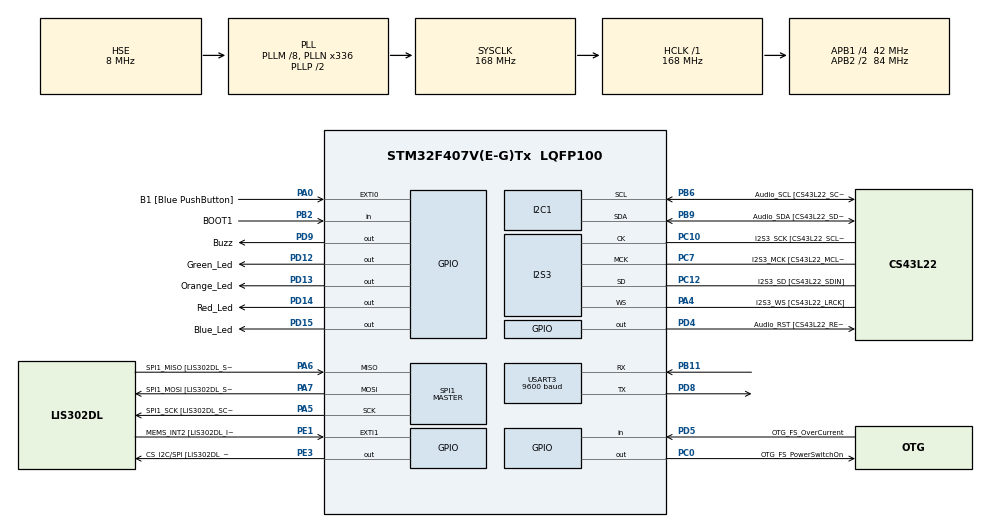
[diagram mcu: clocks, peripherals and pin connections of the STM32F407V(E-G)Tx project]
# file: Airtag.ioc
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Dma.Request0=USART3_RX
Dma.Request1=USART3_TX
Dma.USART3_RX.0.Direction=DMA_PERIPH_TO_MEMORY
Dma.USART3_RX.0.FIFOMode=DMA_FIFOMODE_DISABLE
Dma.USART3_RX.0.Instance=DMA1_Stream1
Dma.USART3_RX.0.MemDataAlignment=DMA_MDATAALIGN_BYTE
Dma.USART3_RX.0.MemInc=DMA_MINC_ENABLE
Dma.USART3_RX.0.Mode=DMA_NORMAL
Dma.USART3_RX.0.PeriphDataAlignment=DMA_PDATAALIGN_BYTE
Dma.USART3_RX.0.PeriphInc=DMA_PINC_DISABLE
Dma.USART3_RX.0.Priority=DMA_PRIORITY_LOW
Dma.USART3_TX.1.Direction=DMA_MEMORY_TO_PERIPH
Dma.USART3_TX.1.FIFOMode=DMA_FIFOMODE_DISABLE
Dma.USART3_TX.1.Instance=DMA1_Stream3
Dma.USART3_TX.1.MemDataAlignment=DMA_MDATAALIGN_BYTE
Dma.USART3_TX.1.MemInc=DMA_MINC_ENABLE
Dma.USART3_TX.1.Mode=DMA_NORMAL
Dma.USART3_TX.1.PeriphDataAlignment=DMA_PDATAALIGN_BYTE
Dma.USART3_TX.1.PeriphInc=DMA_PINC_DISABLE
Dma.USART3_TX.1.Priority=DMA_PRIORITY_LOW
I2S3.AudioFreq-Half_Duplex_Master=I2S_AUDIOFREQ_96K
I2S3.ErrorAudioFreq=-2.34 %
I2S3.ErrorAudioFreq-Half_Duplex_Master=0.8 %
I2S3.FullDuplexMode=I2S_FULLDUPLEXMODE_DISABLE
I2S3.Instance=SPI$Index
I2S3.RealAudioFreq=93.75 KHz
I2S3.RealAudioFreq-Half_Duplex_Master=96.774 KHz
I2S3.VirtualMode=I2S_MODE_MASTER
Mcu.Family=STM32F4
Mcu.Name=STM32F407V(E-G)Tx
Mcu.Package=LQFP100
NVIC.DMA1_Stream1_IRQn=true\:0\:0\:false\:false\:true\:false\:true\:true
NVIC.DMA1_Stream3_IRQn=true\:0\:0\:false\:false\:true\:false\:true\:true
NVIC.PriorityGroup=NVIC_PRIORITYGROUP_4
NVIC.TIM7_IRQn=true\:0\:0\:false\:false\:true\:false\:true\:true
NVIC.TimeBase=TIM7_IRQn
NVIC.TimeBaseIP=TIM7
NVIC.USART3_IRQn=true\:0\:0\:false\:false\:true\:true\:true\:true
PA0-WKUP.GPIO_Label=B1 [Blue PushButton]
PA0-WKUP.GPIO_ModeDefaultEXTI=GPIO_MODE_EVT_RISING
PA0-WKUP.GPIO_PuPd=GPIO_NOPULL
PA0-WKUP.Signal=GPXTI0
PA10.GPIO_Label=OTG_FS_ID
PA10.GPIO_Mode=GPIO_MODE_AF_PP
PA10.GPIO_PuPd=GPIO_NOPULL
PA10.GPIO_Speed=GPIO_SPEED_FREQ_LOW
PA10.Signal=USB_OTG_FS_ID
PA11.GPIO_Label=OTG_FS_DM
PA11.GPIO_Mode=GPIO_MODE_AF_PP
PA11.GPIO_PuPd=GPIO_NOPULL
PA11.GPIO_Speed=GPIO_SPEED_FREQ_LOW
PA11.Signal=USB_OTG_FS_DM
PA12.GPIO_Label=OTG_FS_DP
PA12.GPIO_Mode=GPIO_MODE_AF_PP
PA12.GPIO_PuPd=GPIO_NOPULL
PA12.GPIO_Speed=GPIO_SPEED_FREQ_LOW
PA12.Signal=USB_OTG_FS_DP
PA13.GPIO_Label=SWDIO
PA13.Mode=Serial_Wire
PA13.Signal=SYS_JTMS-SWDIO
PA14.GPIO_Label=SWCLK
PA14.Mode=Serial_Wire
PA14.Signal=SYS_JTCK-SWCLK
PA4.GPIO_Label=I2S3_WS [CS43L22_LRCK]
PA4.GPIO_Mode=GPIO_MODE_AF_PP
PA4.GPIO_PuPd=GPIO_NOPULL
PA4.GPIO_Speed=GPIO_SPEED_FREQ_LOW
PA4.Mode=Half_Duplex_Master
PA4.Signal=I2S3_WS
PA5.GPIO_Label=SPI1_SCK [LIS302DL_SCL/SPC]
PA5.GPIO_Mode=GPIO_MODE_AF_PP
PA5.GPIO_PuPd=GPIO_NOPULL
PA5.GPIO_Speed=GPIO_SPEED_FREQ_LOW
PA5.Mode=Full_Duplex_Master
PA5.Signal=SPI1_SCK
PA6.GPIO_Label=SPI1_MISO [LIS302DL_SDO]
PA6.GPIO_Mode=GPIO_MODE_AF_PP
PA6.GPIO_PuPd=GPIO_NOPULL
PA6.GPIO_Speed=GPIO_SPEED_FREQ_LOW
PA6.Mode=Full_Duplex_Master
PA6.Signal=SPI1_MISO
PA7.GPIO_Label=SPI1_MOSI [LIS302DL_SDA/SDI/SDO]
PA7.GPIO_Mode=GPIO_MODE_AF_PP
PA7.GPIO_PuPd=GPIO_NOPULL
PA7.GPIO_Speed=GPIO_SPEED_FREQ_LOW
PA7.Mode=Full_Duplex_Master
PA7.Signal=SPI1_MOSI
PA9.GPIO_Label=VBUS_FS
PA9.GPIO_Mode=GPIO_MODE_INPUT
PA9.GPIO_PuPd=GPIO_NOPULL
PA9.Signal=USB_OTG_FS_VBUS
PB10.GPIO_Label=CLK_IN [MP45DT02_CLK]
PB10.GPIO_Mode=GPIO_MODE_AF_PP
PB10.GPIO_PuPd=GPIO_NOPULL
PB10.GPIO_Speed=GPIO_SPEED_FREQ_LOW
PB10.Signal=I2S2_CK
PB11.Mode=Asynchronous
PB11.Signal=USART3_RX
PB2.GPIO_Label=BOOT1
PB2.GPIO_Mode=GPIO_MODE_INPUT
PB2.GPIO_PuPd=GPIO_NOPULL
PB2.Signal=GPIO_Input
PB3.GPIO_Label=SWO
PB3.Signal=SYS_JTDO-SWO
PB6.GPIO_Label=Audio_SCL [CS43L22_SCL]
PB6.GPIO_Mode=GPIO_MODE_AF_OD
PB6.GPIO_Pu=GPIO_PULLUP
PB6.GPIO_PuPd=GPIO_NOPULL
PB6.GPIO_Speed=GPIO_SPEED_FREQ_LOW
PB6.Mode=I2C
PB6.Signal=I2C1_SCL
PB9.GPIO_Label=Audio_SDA [CS43L22_SDA]
PB9.GPIO_Mode=GPIO_MODE_AF_OD
PB9.GPIO_Pu=GPIO_PULLUP
PB9.GPIO_PuPd=GPIO_NOPULL
PB9.GPIO_Speed=GPIO_SPEED_FREQ_LOW
PB9.Mode=I2C
PB9.Signal=I2C1_SDA
PC0.GPIO_Label=OTG_FS_PowerSwitchOn
PC0.GPIO_PuPd=GPIO_NOPULL
PC0.GPIO_Speed=GPIO_SPEED_FREQ_LOW
PC0.PinState=GPIO_PIN_SET
PC0.Signal=GPIO_Output
PC10.GPIO_Label=I2S3_SCK [CS43L22_SCLK]
PC10.GPIO_Mode=GPIO_MODE_AF_PP
PC10.GPIO_PuPd=GPIO_NOPULL
PC10.GPIO_Speed=GPIO_SPEED_FREQ_LOW
PC10.Mode=Half_Duplex_Master
PC10.Signal=I2S3_CK
PC12.GPIO_Label=I2S3_SD [CS43L22_SDIN]
PC12.GPIO_Mode=GPIO_MODE_AF_PP
PC12.GPIO_PuPd=GPIO_NOPULL
PC12.GPIO_Speed=GPIO_SPEED_FREQ_LOW
PC12.Mode=Half_Duplex_Master
PC12.Signal=I2S3_SD
PC14-OSC32_IN.GPIO_Label=PC14-OSC32_IN
PC14-OSC32_IN.Mode=LSE-External-Oscillator
PC14-OSC32_IN.Signal=RCC_OSC32_IN
PC15-OSC32_OUT.GPIO_Label=PC15-OSC32_OUT
PC15-OSC32_OUT.Mode=LSE-External-Oscillator
PC15-OSC32_OUT.Signal=RCC_OSC32_OUT
PC3.GPIO_Label=PDM_OUT [MP45DT02_DOUT]
PC3.GPIO_Mode=GPIO_MODE_AF_PP
PC3.GPIO_PuPd=GPIO_NOPULL
PC3.GPIO_Speed=GPIO_SPEED_FREQ_LOW
PC3.Signal=I2S2_SD
PC7.GPIO_Label=I2S3_MCK [CS43L22_MCLK]
PC7.GPIO_Mode=GPIO_MODE_AF_PP
PC7.GPIO_PuPd=GPIO_NOPULL
PC7.GPIO_Speed=GPIO_SPEED_FREQ_LOW
PC7.Mode=Master_Clock_Activated
PC7.Signal=I2S3_MCK
PD12.GPIO_Label=Green_Led
PD12.GPIO_PuPd=GPIO_NOPULL
PD12.GPIO_Speed=GPIO_SPEED_FREQ_LOW
PD12.Signal=GPIO_Output
PD13.GPIO_Label=Orange_Led
PD13.GPIO_PuPd=GPIO_NOPULL
PD13.GPIO_Speed=GPIO_SPEED_FREQ_LOW
PD13.Signal=GPIO_Output
PD14.GPIO_Label=Red_Led
PD14.GPIO_PuPd=GPIO_NOPULL
PD14.GPIO_Speed=GPIO_SPEED_FREQ_LOW
PD14.Signal=GPIO_Output
PD15.GPIO_Label=Blue_Led
PD15.GPIO_PuPd=GPIO_NOPULL
PD15.GPIO_Speed=GPIO_SPEED_FREQ_LOW
PD15.Signal=GPIO_Output
PD4.GPIO_Label=Audio_RST [CS43L22_RESET]
PD4.GPIO_PuPd=GPIO_NOPULL
PD4.GPIO_Speed=GPIO_SPEED_FREQ_LOW
PD4.Signal=GPIO_Output
PD5.GPIO_Label=OTG_FS_OverCurrent
PD5.GPIO_Mode=GPIO_MODE_INPUT
PD5.GPIO_PuPd=GPIO_NOPULL
PD5.Signal=GPIO_Input
PD8.Mode=Asynchronous
PD8.Signal=USART3_TX
PD9.GPIO_Label=Buzz
PD9.Signal=GPIO_Output
PE1.GPIO_Label=MEMS_INT2 [LIS302DL_INT2]
PE1.GPIO_ModeDefaultEXTI=GPIO_MODE_EVT_RISING
PE1.GPIO_PuPd=GPIO_NOPULL
PE1.Signal=GPXTI1
PE3.GPIO_Label=CS_I2C/SPI [LIS302DL_CS_I2C/SPI]
PE3.GPIO_PuPd=GPIO_NOPULL
PE3.GPIO_Speed=GPIO_SPEED_FREQ_LOW
PE3.Signal=GPIO_Output
PH0-OSC_IN.GPIO_Label=PH0-OSC_IN
PH0-OSC_IN.Mode=HSE-External-Oscillator
PH0-OSC_IN.Signal=RCC_OSC_IN
PH1-OSC_OUT.GPIO_Label=PH1-OSC_OUT
PH1-OSC_OUT.Mode=HSE-External-Oscillator
PH1-OSC_OUT.Signal=RCC_OSC_OUT
ProjectManager.HeapSize=0x200
ProjectManager.StackSize=0x400
ProjectManager.TargetToolchain=STM32CubeIDE
RCC.48MHZClocksFreq_Value=48000000
RCC.AHBFreq_Value=168000000
RCC.APB1CLKDivider=RCC_HCLK_DIV4
RCC.APB1Freq_Value=42000000
RCC.APB1TimFreq_Value=84000000
RCC.APB2CLKDivider=RCC_HCLK_DIV2
RCC.APB2Freq_Value=84000000
RCC.APB2TimFreq_Value=168000000
RCC.CortexFreq_Value=168000000
RCC.HCLKFreq_Value=168000000
RCC.HSE_VALUE=8000000
RCC.HSI_VALUE=16000000
RCC.PLLM=8
RCC.PLLN=336
RCC.PLLQ=7
RCC.PLLSourceVirtual=RCC_PLLSOURCE_HSE
RCC.SYSCLKFreq_VALUE=168000000
RCC.SYSCLKSource=RCC_SYSCLKSOURCE_PLLCLK
RCC.VCOOutputFreq_Value=336000000
SPI1.BaudRatePrescaler-Full_Duplex_Master=SPI_BAUDRATEPRESCALER_2
SPI1.CalculateBaudRate-Full_Duplex_Master=42.0 MBits/s
SPI1.Direction=SPI_DIRECTION_2LINES
SPI1.Mode=SPI_MODE_MASTER
SPI1.Mode-Full_Duplex_Master=SPI_MODE_MASTER
SPI1.VirtualType=VM_MASTER
USART3.BaudRate=9600
USART3.VirtualMode=VM_ASYNC
VP_SYS_VS_tim7.Mode=TIM7
board=STM32F407G-DISC1

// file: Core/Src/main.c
/* USER CODE BEGIN Header */
/**
  ******************************************************************************
  * @file           : main.c
  * @brief          : Main program body
  ******************************************************************************
  * @attention
  *
  * Copyright (c) 2025 STMicroelectronics.
  * All rights reserved.
  *
  * This software is licensed under terms that can be found in the LICENSE file
  * in the root directory of this software component.
  * If no LICENSE file comes with this software, it is provided AS-IS.
  *
  ******************************************************************************
  */
/* USER CODE END Header */
#include "main.h"

/* USER CODE BEGIN Includes */
#include "string.h"
#include "bluetooth.h"
/* USER CODE END Includes */

I2C_HandleTypeDef hi2c1;

I2S_HandleTypeDef hi2s3;

SPI_HandleTypeDef hspi1;

UART_HandleTypeDef huart3;
DMA_HandleTypeDef hdma_usart3_rx;
DMA_HandleTypeDef hdma_usart3_tx;

/* USER CODE BEGIN PV */

#define BlueTooth_WAIT   "K1N6UJ0L"
#define BlueTooth_WORK   "A3X7KP9Q"
#define BlueTooth_FIND   "H7C5WD2E"
#define Red_LED_TOGGLE   "B8L2MN4R"
#define ORANGE_FLASHING  "Z9F3TY8S"
#define BUZZ_ON          "Q2Z8ME5T"
#define BUZZ_OFF         "W4R9BN3X"

static uint8_t receiveData[20];
static int ORANGE_LED_=1;
static int Buzz_=0;
static int fre=1000;

/* USER CODE END PV */

void SystemClock_Config(void);
static void MX_GPIO_Init(void);
static void MX_DMA_Init(void);
static void MX_I2C1_Init(void);
static void MX_I2S3_Init(void);
static void MX_SPI1_Init(void);
static void MX_USART3_UART_Init(void);

/* USER CODE BEGIN 0 */
extern BLUETOOTH_DEVICE_InfoTypeDef BT_INFO;

void Buzz(int dis){
	if(Buzz_){
		if(dis>10){
			fre = (dis-10)*5+10;
		}
		else {fre=dis;}
		HAL_GPIO_TogglePin(GPIOD, GPIO_PIN_15);
		HAL_GPIO_WritePin(GPIOD, GPIO_PIN_9, GPIO_PIN_RESET);//Buzz on
		HAL_Delay(fre);
		HAL_GPIO_WritePin(GPIOD, GPIO_PIN_9, GPIO_PIN_SET);//Buzz off
		HAL_Delay(fre);

	}
}
void Orange_LED(){
	if(ORANGE_LED_){
		HAL_GPIO_WritePin(GPIOD, GPIO_PIN_13, GPIO_PIN_SET);
		HAL_Delay(200);
		HAL_GPIO_WritePin(GPIOD, GPIO_PIN_13, GPIO_PIN_RESET);
		HAL_Delay(200);
	}
}
//GPIO_PIN_12 Green
//GPIO_PIN_13 Orange
//GPIO_PIN_14 Red
//GPIO_PIN_15 Blue
void HAL_UARTEx_RxEventCallback(UART_HandleTypeDef *huart, uint16_t Size) {
	int dis=0;
  if (huart == &huart3 && Size > 0) {

	//HAL_UART_Transmit_DMA(huart, receiveData, Size);

    /*
    if(strcmp((char*)receiveData, "1")==0){
    	HAL_GPIO_TogglePin(GPIOD, GPIO_PIN_13);//Orange
    }
    else if(strcmp((char*)receiveData, "2")==0){
    	HAL_GPIO_TogglePin(GPIOD, GPIO_PIN_14);//Red
    }
    else{
    	HAL_GPIO_TogglePin(GPIOD, GPIO_PIN_15);//Blue
    */
    switch (BT_INFO.BT_state){
		case WAIT_MODE:
			if(strcmp((char*)receiveData, BlueTooth_WORK)==0){
				SwitchMode(WORK_MODE);
			}
			break;
		case WORK_MODE:
			if(strcmp((char*)receiveData, BlueTooth_WAIT)==0){
				SwitchMode(WAIT_MODE);
			}
			else if(strcmp((char*)receiveData, Red_LED_TOGGLE)==0){//Red
				HAL_GPIO_TogglePin(GPIOD, GPIO_PIN_14);
			}
			else if(strcmp((char*)receiveData, ORANGE_FLASHING)==0){//orange
				if(ORANGE_LED_==1)ORANGE_LED_= 0;
				else if(ORANGE_LED_==0)ORANGE_LED_= 1;
			}
			else if(strcmp((char*)receiveData, BlueTooth_FIND)==0){
				SwitchMode(FIND_MODE);
			}
			break;
		case FIND_MODE:
			if(strcmp((char*)receiveData, BlueTooth_WORK)==0){
				Buzz_=0;
				SwitchMode(WORK_MODE);
			}
			else if(strcmp((char*)receiveData, BUZZ_ON)==0){
				Buzz_=1;
			}
			else if(strcmp((char*)receiveData, BUZZ_OFF)==0){
				Buzz_=0;
				HAL_GPIO_WritePin(GPIOD, GPIO_PIN_15, GPIO_PIN_SET);
			}
			else if(strncmp((char*)receiveData, "RSSI",4)==0){
				dis = ((char*)receiveData)[5]*10 + ((char*)receiveData)[6]- 528;
				BT_INFO.BT_distance = dis;
			}
			break;
		default:
			break;
	}

    HAL_UARTEx_ReceiveToIdle_DMA(huart, receiveData, sizeof(receiveData));
    __HAL_DMA_DISABLE_IT(&hdma_usart3_rx, DMA_IT_HT);
  }
}
/* USER CODE END 0 */

int main(void)
{

  /* MCU Configuration--------------------------------------------------------*/

  /* Reset of all peripherals, Initializes the Flash interface and the Systick. */
  HAL_Init();

  /* Configure the system clock */
  SystemClock_Config();

  /* Initialize all configured peripherals */
  MX_GPIO_Init();
  MX_DMA_Init();
  MX_I2C1_Init();
  MX_I2S3_Init();
  MX_SPI1_Init();
  MX_USART3_UART_Init();
  /* USER CODE BEGIN 2 */
  HAL_UARTEx_RxEventCallback(&huart3, sizeof(receiveData));
  /*Init Buzz */
	HAL_GPIO_WritePin(GPIOD, GPIO_PIN_9, GPIO_PIN_SET);
	BT_INFO.BT_distance=100;
  /* USER CODE END 2 */

  /* Infinite loop */
  while (1)
  {

    /* USER CODE BEGIN 3 */
    switch (BT_INFO.BT_state){
		case WAIT_MODE:
			// This mode represents a low energy state, so we do nothing to conserve power
			break;
		case WORK_MODE:
			Orange_LED();
			break;
		case FIND_MODE:
			Buzz(BT_INFO.BT_distance);
			break;
		default:
			break;
	}
  }
  /* USER CODE END 3 */
}

void SystemClock_Config(void)
{
  RCC_OscInitTypeDef RCC_OscInitStruct = {0};
  RCC_ClkInitTypeDef RCC_ClkInitStruct = {0};

  /** Configure the main internal regulator output voltage
  */
  __HAL_RCC_PWR_CLK_ENABLE();
  __HAL_PWR_VOLTAGESCALING_CONFIG(PWR_REGULATOR_VOLTAGE_SCALE1);

  /** Initializes the RCC Oscillators according to the specified parameters
  * in the RCC_OscInitTypeDef structure.
  */
  RCC_OscInitStruct.OscillatorType = RCC_OSCILLATORTYPE_HSE;
  RCC_OscInitStruct.HSEState = RCC_HSE_ON;
  RCC_OscInitStruct.PLL.PLLState = RCC_PLL_ON;
  RCC_OscInitStruct.PLL.PLLSource = RCC_PLLSOURCE_HSE;
  RCC_OscInitStruct.PLL.PLLM = 8;
  RCC_OscInitStruct.PLL.PLLN = 336;
  RCC_OscInitStruct.PLL.PLLP = RCC_PLLP_DIV2;
  RCC_OscInitStruct.PLL.PLLQ = 7;
  if (HAL_RCC_OscConfig(&RCC_OscInitStruct) != HAL_OK)
  {
    Error_Handler();
  }

  /** Initializes the CPU, AHB and APB buses clocks
  */
  RCC_ClkInitStruct.ClockType = RCC_CLOCKTYPE_HCLK|RCC_CLOCKTYPE_SYSCLK
                              |RCC_CLOCKTYPE_PCLK1|RCC_CLOCKTYPE_PCLK2;
  RCC_ClkInitStruct.SYSCLKSource = RCC_SYSCLKSOURCE_PLLCLK;
  RCC_ClkInitStruct.AHBCLKDivider = RCC_SYSCLK_DIV1;
  RCC_ClkInitStruct.APB1CLKDivider = RCC_HCLK_DIV4;
  RCC_ClkInitStruct.APB2CLKDivider = RCC_HCLK_DIV2;

  if (HAL_RCC_ClockConfig(&RCC_ClkInitStruct, FLASH_LATENCY_5) != HAL_OK)
  {
    Error_Handler();
  }
}

static void MX_I2C1_Init(void)
{

  hi2c1.Instance = I2C1;
  hi2c1.Init.ClockSpeed = 100000;
  hi2c1.Init.DutyCycle = I2C_DUTYCYCLE_2;
  hi2c1.Init.OwnAddress1 = 0;
  hi2c1.Init.AddressingMode = I2C_ADDRESSINGMODE_7BIT;
  hi2c1.Init.DualAddressMode = I2C_DUALADDRESS_DISABLE;
  hi2c1.Init.OwnAddress2 = 0;
  hi2c1.Init.GeneralCallMode = I2C_GENERALCALL_DISABLE;
  hi2c1.Init.NoStretchMode = I2C_NOSTRETCH_DISABLE;
  if (HAL_I2C_Init(&hi2c1) != HAL_OK)
  {
    Error_Handler();
  }

}

static void MX_I2S3_Init(void)
{

  hi2s3.Instance = SPI3;
  hi2s3.Init.Mode = I2S_MODE_MASTER_TX;
  hi2s3.Init.Standard = I2S_STANDARD_PHILIPS;
  hi2s3.Init.DataFormat = I2S_DATAFORMAT_16B;
  hi2s3.Init.MCLKOutput = I2S_MCLKOUTPUT_ENABLE;
  hi2s3.Init.AudioFreq = I2S_AUDIOFREQ_96K;
  hi2s3.Init.CPOL = I2S_CPOL_LOW;
  hi2s3.Init.ClockSource = I2S_CLOCK_PLL;
  hi2s3.Init.FullDuplexMode = I2S_FULLDUPLEXMODE_DISABLE;
  if (HAL_I2S_Init(&hi2s3) != HAL_OK)
  {
    Error_Handler();
  }

}

static void MX_SPI1_Init(void)
{

  /* SPI1 parameter configuration*/
  hspi1.Instance = SPI1;
  hspi1.Init.Mode = SPI_MODE_MASTER;
  hspi1.Init.Direction = SPI_DIRECTION_2LINES;
  hspi1.Init.DataSize = SPI_DATASIZE_8BIT;
  hspi1.Init.CLKPolarity = SPI_POLARITY_LOW;
  hspi1.Init.CLKPhase = SPI_PHASE_1EDGE;
  hspi1.Init.NSS = SPI_NSS_SOFT;
  hspi1.Init.BaudRatePrescaler = SPI_BAUDRATEPRESCALER_2;
  hspi1.Init.FirstBit = SPI_FIRSTBIT_MSB;
  hspi1.Init.TIMode = SPI_TIMODE_DISABLE;
  hspi1.Init.CRCCalculation = SPI_CRCCALCULATION_DISABLE;
  hspi1.Init.CRCPolynomial = 10;
  if (HAL_SPI_Init(&hspi1) != HAL_OK)
  {
    Error_Handler();
  }

}

static void MX_USART3_UART_Init(void)
{

  huart3.Instance = USART3;
  huart3.Init.BaudRate = 9600;
  huart3.Init.WordLength = UART_WORDLENGTH_8B;
  huart3.Init.StopBits = UART_STOPBITS_1;
  huart3.Init.Parity = UART_PARITY_NONE;
  huart3.Init.Mode = UART_MODE_TX_RX;
  huart3.Init.HwFlowCtl = UART_HWCONTROL_NONE;
  huart3.Init.OverSampling = UART_OVERSAMPLING_16;
  if (HAL_UART_Init(&huart3) != HAL_OK)
  {
    Error_Handler();
  }

}

static void MX_DMA_Init(void)
{

  /* DMA controller clock enable */
  __HAL_RCC_DMA1_CLK_ENABLE();

  /* DMA interrupt init */
  /* DMA1_Stream1_IRQn interrupt configuration */
  HAL_NVIC_SetPriority(DMA1_Stream1_IRQn, 0, 0);
  HAL_NVIC_EnableIRQ(DMA1_Stream1_IRQn);
  /* DMA1_Stream3_IRQn interrupt configuration */
  HAL_NVIC_SetPriority(DMA1_Stream3_IRQn, 0, 0);
  HAL_NVIC_EnableIRQ(DMA1_Stream3_IRQn);

}

static void MX_GPIO_Init(void)
{
  GPIO_InitTypeDef GPIO_InitStruct = {0};

  /* GPIO Ports Clock Enable */
  __HAL_RCC_GPIOE_CLK_ENABLE();
  __HAL_RCC_GPIOC_CLK_ENABLE();
  __HAL_RCC_GPIOH_CLK_ENABLE();
  __HAL_RCC_GPIOA_CLK_ENABLE();
  __HAL_RCC_GPIOB_CLK_ENABLE();
  __HAL_RCC_GPIOD_CLK_ENABLE();

  /*Configure GPIO pin Output Level */
  HAL_GPIO_WritePin(CS_I2C_SPI_GPIO_Port, CS_I2C_SPI_Pin, GPIO_PIN_RESET);

  /*Configure GPIO pin Output Level */
  HAL_GPIO_WritePin(OTG_FS_PowerSwitchOn_GPIO_Port, OTG_FS_PowerSwitchOn_Pin, GPIO_PIN_SET);

  /*Configure GPIO pin Output Level */
  HAL_GPIO_WritePin(GPIOD, Buzz_Pin|Green_Led_Pin|Orange_Led_Pin|Red_Led_Pin
                          |Blue_Led_Pin|Audio_RST_Pin, GPIO_PIN_RESET);

  /*Configure GPIO pin : CS_I2C_SPI_Pin */
  GPIO_InitStruct.Pin = CS_I2C_SPI_Pin;
  GPIO_InitStruct.Mode = GPIO_MODE_OUTPUT_PP;
  GPIO_InitStruct.Pull = GPIO_NOPULL;
  GPIO_InitStruct.Speed = GPIO_SPEED_FREQ_LOW;
  HAL_GPIO_Init(CS_I2C_SPI_GPIO_Port, &GPIO_InitStruct);

  /*Configure GPIO pin : OTG_FS_PowerSwitchOn_Pin */
  GPIO_InitStruct.Pin = OTG_FS_PowerSwitchOn_Pin;
  GPIO_InitStruct.Mode = GPIO_MODE_OUTPUT_PP;
  GPIO_InitStruct.Pull = GPIO_NOPULL;
  GPIO_InitStruct.Speed = GPIO_SPEED_FREQ_LOW;
  HAL_GPIO_Init(OTG_FS_PowerSwitchOn_GPIO_Port, &GPIO_InitStruct);

  /*Configure GPIO pin : PDM_OUT_Pin */
  GPIO_InitStruct.Pin = PDM_OUT_Pin;
  GPIO_InitStruct.Mode = GPIO_MODE_AF_PP;
  GPIO_InitStruct.Pull = GPIO_NOPULL;
  GPIO_InitStruct.Speed = GPIO_SPEED_FREQ_LOW;
  GPIO_InitStruct.Alternate = GPIO_AF5_SPI2;
  HAL_GPIO_Init(PDM_OUT_GPIO_Port, &GPIO_InitStruct);

  /*Configure GPIO pin : B1_Pin */
  GPIO_InitStruct.Pin = B1_Pin;
  GPIO_InitStruct.Mode = GPIO_MODE_EVT_RISING;
  GPIO_InitStruct.Pull = GPIO_NOPULL;
  HAL_GPIO_Init(B1_GPIO_Port, &GPIO_InitStruct);

  /*Configure GPIO pin : BOOT1_Pin */
  GPIO_InitStruct.Pin = BOOT1_Pin;
  GPIO_InitStruct.Mode = GPIO_MODE_INPUT;
  GPIO_InitStruct.Pull = GPIO_NOPULL;
  HAL_GPIO_Init(BOOT1_GPIO_Port, &GPIO_InitStruct);

  /*Configure GPIO pin : CLK_IN_Pin */
  GPIO_InitStruct.Pin = CLK_IN_Pin;
  GPIO_InitStruct.Mode = GPIO_MODE_AF_PP;
  GPIO_InitStruct.Pull = GPIO_NOPULL;
  GPIO_InitStruct.Speed = GPIO_SPEED_FREQ_LOW;
  GPIO_InitStruct.Alternate = GPIO_AF5_SPI2;
  HAL_GPIO_Init(CLK_IN_GPIO_Port, &GPIO_InitStruct);

  /*Configure GPIO pins : Buzz_Pin Green_Led_Pin Orange_Led_Pin Red_Led_Pin
                           Blue_Led_Pin Audio_RST_Pin */
  GPIO_InitStruct.Pin = Buzz_Pin|Green_Led_Pin|Orange_Led_Pin|Red_Led_Pin
                          |Blue_Led_Pin|Audio_RST_Pin;
  GPIO_InitStruct.Mode = GPIO_MODE_OUTPUT_PP;
  GPIO_InitStruct.Pull = GPIO_NOPULL;
  GPIO_InitStruct.Speed = GPIO_SPEED_FREQ_LOW;
  HAL_GPIO_Init(GPIOD, &GPIO_InitStruct);

  /*Configure GPIO pin : VBUS_FS_Pin */
  GPIO_InitStruct.Pin = VBUS_FS_Pin;
  GPIO_InitStruct.Mode = GPIO_MODE_INPUT;
  GPIO_InitStruct.Pull = GPIO_NOPULL;
  HAL_GPIO_Init(VBUS_FS_GPIO_Port, &GPIO_InitStruct);

  /*Configure GPIO pins : OTG_FS_ID_Pin OTG_FS_DM_Pin OTG_FS_DP_Pin */
  GPIO_InitStruct.Pin = OTG_FS_ID_Pin|OTG_FS_DM_Pin|OTG_FS_DP_Pin;
  GPIO_InitStruct.Mode = GPIO_MODE_AF_PP;
  GPIO_InitStruct.Pull = GPIO_NOPULL;
  GPIO_InitStruct.Speed = GPIO_SPEED_FREQ_LOW;
  GPIO_InitStruct.Alternate = GPIO_AF10_OTG_FS;
  HAL_GPIO_Init(GPIOA, &GPIO_InitStruct);

  /*Configure GPIO pin : OTG_FS_OverCurrent_Pin */
  GPIO_InitStruct.Pin = OTG_FS_OverCurrent_Pin;
  GPIO_InitStruct.Mode = GPIO_MODE_INPUT;
  GPIO_InitStruct.Pull = GPIO_NOPULL;
  HAL_GPIO_Init(OTG_FS_OverCurrent_GPIO_Port, &GPIO_InitStruct);

  /*Configure GPIO pin : MEMS_INT2_Pin */
  GPIO_InitStruct.Pin = MEMS_INT2_Pin;
  GPIO_InitStruct.Mode = GPIO_MODE_EVT_RISING;
  GPIO_InitStruct.Pull = GPIO_NOPULL;
  HAL_GPIO_Init(MEMS_INT2_GPIO_Port, &GPIO_InitStruct);

}

void HAL_TIM_PeriodElapsedCallback(TIM_HandleTypeDef *htim)
{
  if (htim->Instance == TIM7)
  {
    HAL_IncTick();
  }
}

void Error_Handler(void)
{
  __disable_irq();
  while (1)
  {
  }
}
